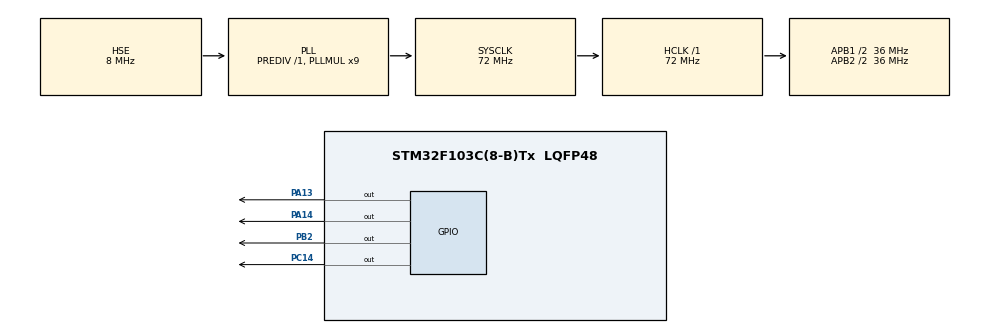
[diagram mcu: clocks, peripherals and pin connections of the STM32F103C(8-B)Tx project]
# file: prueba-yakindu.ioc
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Mcu.Family=STM32F1
Mcu.Name=STM32F103C(8-B)Tx
Mcu.Package=LQFP48
NVIC.PriorityGroup=NVIC_PRIORITYGROUP_4
NVIC.TIM3_IRQn=true\:0\:0\:false\:false\:true\:true\:true\:true
PA13.Signal=GPIO_Output
PA14.Signal=GPIO_Output
PB2.Signal=GPIO_Output
PC14-OSC32_IN.Signal=GPIO_Output
PD0-OSC_IN.Mode=HSE-External-Oscillator
PD0-OSC_IN.Signal=RCC_OSC_IN
PD1-OSC_OUT.Mode=HSE-External-Oscillator
PD1-OSC_OUT.Signal=RCC_OSC_OUT
ProjectManager.HeapSize=0x200
ProjectManager.StackSize=0x400
ProjectManager.TargetToolchain=STM32CubeIDE
RCC.48MHZClocksFreq_Value=84000000
RCC.AHBFreq_Value=72000000
RCC.APB1CLKDivider=RCC_HCLK_DIV2
RCC.APB1Freq_Value=36000000
RCC.APB1TimFreq_Value=72000000
RCC.APB2CLKDivider=RCC_HCLK_DIV2
RCC.APB2Freq_Value=36000000
RCC.APB2TimFreq_Value=72000000
RCC.CortexFreq_Value=168000000
RCC.HCLKFreq_Value=72000000
RCC.HSI_VALUE=16000000
RCC.LSE_VALUE=32768
RCC.PLLM=4
RCC.PLLMUL=RCC_PLL_MUL9
RCC.PLLN=168
RCC.PLLSourceVirtual=RCC_PLLSOURCE_HSE
RCC.SYSCLKFreq_VALUE=72000000
RCC.SYSCLKSource=RCC_SYSCLKSOURCE_PLLCLK
RCC.USBFreq_Value=72000000
RCC.VCOOutputFreq_Value=336000000
TIM3.Period=41999
TIM3.Prescaler=1
VP_SYS_VS_ND.Mode=No_Debug
VP_TIM3_VS_ClockSourceINT.Mode=Internal
board=custom

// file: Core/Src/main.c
/* USER CODE BEGIN Header */
/**
  ******************************************************************************
  * @file           : main.c
  * @brief          : Main program body
  ******************************************************************************
  * @attention
  *
  * Copyright (c) 2022 STMicroelectronics.
  * All rights reserved.
  *
  * This software is licensed under terms that can be found in the LICENSE file
  * in the root directory of this software component.
  * If no LICENSE file comes with this software, it is provided AS-IS.
  *
  ******************************************************************************
  */
/* USER CODE END Header */
#include "main.h"

/* USER CODE BEGIN Includes */
#include "Blinky_required.h"
#include "sc_timer_service.h"
/* USER CODE END Includes */

/* USER CODE BEGIN PTD */
#define MAX_TIMERS 20
#define TICK_MS 1
/* USER CODE END PTD */

 TIM_HandleTypeDef htim3;

/* USER CODE BEGIN PV */
Blinky sm;
static sc_timer_t timers[MAX_TIMERS];
static sc_timer_service_t timer_service;
/* USER CODE END PV */

void SystemClock_Config(void);
static void MX_GPIO_Init(void);
static void MX_TIM3_Init(void);

int main(void)
{

  /* MCU Configuration--------------------------------------------------------*/

  /* Reset of all peripherals, Initializes the Flash interface and the Systick. */
  HAL_Init();

  /* Configure the system clock */
  SystemClock_Config();

  /* Initialize all configured peripherals */
  MX_GPIO_Init();
  MX_TIM3_Init();
  /* USER CODE BEGIN 2 */
  HAL_TIM_Base_Start_IT(&htim3);
  sc_timer_service_init(&timer_service, timers, MAX_TIMERS, (sc_raise_time_event_fp) &blinky_raise_time_event);
  blinky_init(&sm);
  blinky_enter(&sm);
  /* USER CODE END 2 */

  /* Infinite loop */
  while (1)
  {

  }
}

void SystemClock_Config(void)
{
  RCC_OscInitTypeDef RCC_OscInitStruct = {0};
  RCC_ClkInitTypeDef RCC_ClkInitStruct = {0};

  /** Initializes the RCC Oscillators according to the specified parameters
  * in the RCC_OscInitTypeDef structure.
  */
  RCC_OscInitStruct.OscillatorType = RCC_OSCILLATORTYPE_HSE;
  RCC_OscInitStruct.HSEState = RCC_HSE_ON;
  RCC_OscInitStruct.HSEPredivValue = RCC_HSE_PREDIV_DIV1;
  RCC_OscInitStruct.HSIState = RCC_HSI_ON;
  RCC_OscInitStruct.PLL.PLLState = RCC_PLL_ON;
  RCC_OscInitStruct.PLL.PLLSource = RCC_PLLSOURCE_HSE;
  RCC_OscInitStruct.PLL.PLLMUL = RCC_PLL_MUL9;
  if (HAL_RCC_OscConfig(&RCC_OscInitStruct) != HAL_OK)
  {
    Error_Handler();
  }

  /** Initializes the CPU, AHB and APB buses clocks
  */
  RCC_ClkInitStruct.ClockType = RCC_CLOCKTYPE_HCLK|RCC_CLOCKTYPE_SYSCLK
                              |RCC_CLOCKTYPE_PCLK1|RCC_CLOCKTYPE_PCLK2;
  RCC_ClkInitStruct.SYSCLKSource = RCC_SYSCLKSOURCE_PLLCLK;
  RCC_ClkInitStruct.AHBCLKDivider = RCC_SYSCLK_DIV1;
  RCC_ClkInitStruct.APB1CLKDivider = RCC_HCLK_DIV2;
  RCC_ClkInitStruct.APB2CLKDivider = RCC_HCLK_DIV2;

  if (HAL_RCC_ClockConfig(&RCC_ClkInitStruct, FLASH_LATENCY_2) != HAL_OK)
  {
    Error_Handler();
  }
}

static void MX_TIM3_Init(void)
{

  TIM_ClockConfigTypeDef sClockSourceConfig = {0};
  TIM_MasterConfigTypeDef sMasterConfig = {0};

  htim3.Instance = TIM3;
  htim3.Init.Prescaler = 1;
  htim3.Init.CounterMode = TIM_COUNTERMODE_UP;
  htim3.Init.Period = 41999;
  htim3.Init.ClockDivision = TIM_CLOCKDIVISION_DIV1;
  htim3.Init.AutoReloadPreload = TIM_AUTORELOAD_PRELOAD_DISABLE;
  if (HAL_TIM_Base_Init(&htim3) != HAL_OK)
  {
    Error_Handler();
  }
  sClockSourceConfig.ClockSource = TIM_CLOCKSOURCE_INTERNAL;
  if (HAL_TIM_ConfigClockSource(&htim3, &sClockSourceConfig) != HAL_OK)
  {
    Error_Handler();
  }
  sMasterConfig.MasterOutputTrigger = TIM_TRGO_RESET;
  sMasterConfig.MasterSlaveMode = TIM_MASTERSLAVEMODE_DISABLE;
  if (HAL_TIMEx_MasterConfigSynchronization(&htim3, &sMasterConfig) != HAL_OK)
  {
    Error_Handler();
  }

}

static void MX_GPIO_Init(void)
{
  GPIO_InitTypeDef GPIO_InitStruct = {0};

  /* GPIO Ports Clock Enable */
  __HAL_RCC_GPIOC_CLK_ENABLE();
  __HAL_RCC_GPIOD_CLK_ENABLE();
  __HAL_RCC_GPIOB_CLK_ENABLE();
  __HAL_RCC_GPIOA_CLK_ENABLE();

  /*Configure GPIO pin Output Level */
  HAL_GPIO_WritePin(GPIOC, GPIO_PIN_14, GPIO_PIN_RESET);

  /*Configure GPIO pin Output Level */
  HAL_GPIO_WritePin(GPIOB, GPIO_PIN_2, GPIO_PIN_RESET);

  /*Configure GPIO pin Output Level */
  HAL_GPIO_WritePin(GPIOA, GPIO_PIN_13|GPIO_PIN_14, GPIO_PIN_RESET);

  /*Configure GPIO pin : PC14 */
  GPIO_InitStruct.Pin = GPIO_PIN_14;
  GPIO_InitStruct.Mode = GPIO_MODE_OUTPUT_PP;
  GPIO_InitStruct.Pull = GPIO_NOPULL;
  GPIO_InitStruct.Speed = GPIO_SPEED_FREQ_LOW;
  HAL_GPIO_Init(GPIOC, &GPIO_InitStruct);

  /*Configure GPIO pin : PB2 */
  GPIO_InitStruct.Pin = GPIO_PIN_2;
  GPIO_InitStruct.Mode = GPIO_MODE_OUTPUT_PP;
  GPIO_InitStruct.Pull = GPIO_NOPULL;
  GPIO_InitStruct.Speed = GPIO_SPEED_FREQ_LOW;
  HAL_GPIO_Init(GPIOB, &GPIO_InitStruct);

  /*Configure GPIO pins : PA13 PA14 */
  GPIO_InitStruct.Pin = GPIO_PIN_13|GPIO_PIN_14;
  GPIO_InitStruct.Mode = GPIO_MODE_OUTPUT_PP;
  GPIO_InitStruct.Pull = GPIO_NOPULL;
  GPIO_InitStruct.Speed = GPIO_SPEED_FREQ_LOW;
  HAL_GPIO_Init(GPIOA, &GPIO_InitStruct);

}

/* USER CODE BEGIN 4 */
void HAL_TIM_PeriodElapsedCallback(TIM_HandleTypeDef* htim) {
	if(htim->Instance == htim3.Instance) {
		sc_timer_service_proceed(&timer_service, TICK_MS);
	}
}

void blinky_set_timer(Blinky* handle, const sc_eventid evid, const sc_integer time_ms, const sc_boolean periodic){
	sc_timer_start(&timer_service, (void*) handle, evid, time_ms, periodic);
}

void blinky_unset_timer(Blinky* handle, const sc_eventid evid){
	sc_timer_cancel(&timer_service, evid);
	(void) handle;
}
/* USER CODE END 4 */

void Error_Handler(void)
{
  __disable_irq();
  while (1)
  {
  }
}
